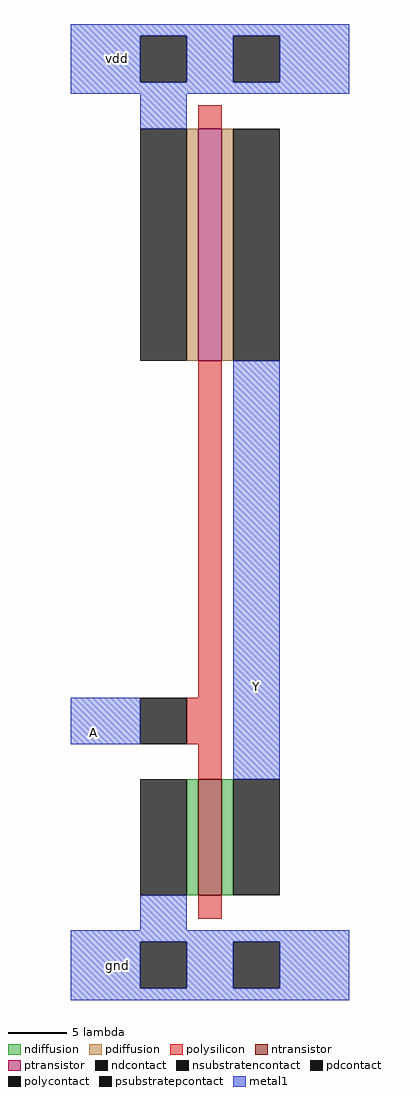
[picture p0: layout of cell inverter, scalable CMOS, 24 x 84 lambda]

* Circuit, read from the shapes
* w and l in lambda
.subckt inverter A Y gnd vdd
M1 Y A gnd gnd nfet w=10 l=2
M2 Y A vdd vdd pfet w=20 l=2
.ends

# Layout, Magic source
magic
tech scmos
<< ntransistor >>
rect 7 8 9 18
<< ptransistor >>
rect 7 54 9 74
<< ndiffusion >>
rect 6 8 7 18
rect 9 8 10 18
<< pdiffusion >>
rect 6 54 7 74
rect 9 54 10 74
<< ndcontact >>
rect 2 8 6 18
rect 10 8 14 18
<< pdcontact >>
rect 2 54 6 74
rect 10 54 14 74
<< psubstratepcontact >>
rect 2 0 6 4
rect 10 0 14 4
<< nsubstratencontact >>
rect 2 78 6 82
rect 10 78 14 82
<< polysilicon >>
rect 7 74 9 76
rect 7 25 9 54
rect 6 21 9 25
rect 7 18 9 21
rect 7 6 9 8
<< polycontact >>
rect 2 21 6 25
<< metal1 >>
rect -4 82 20 83
rect -4 78 2 82
rect 6 78 10 82
rect 14 78 20 82
rect -4 77 20 78
rect 2 74 6 77
rect -4 21 2 25
rect 10 18 14 54
rect 2 5 6 8
rect -4 4 20 5
rect -4 0 2 4
rect 6 0 10 4
rect 14 0 20 4
rect -4 -1 20 0
<< labels >>
rlabel metal1 12 26 12 26 1 Y
rlabel metal1 -2 22 -2 22 3 A
rlabel metal1 0 80 0 80 6 vdd
rlabel metal1 0 2 0 2 8 gnd
<< end >>
